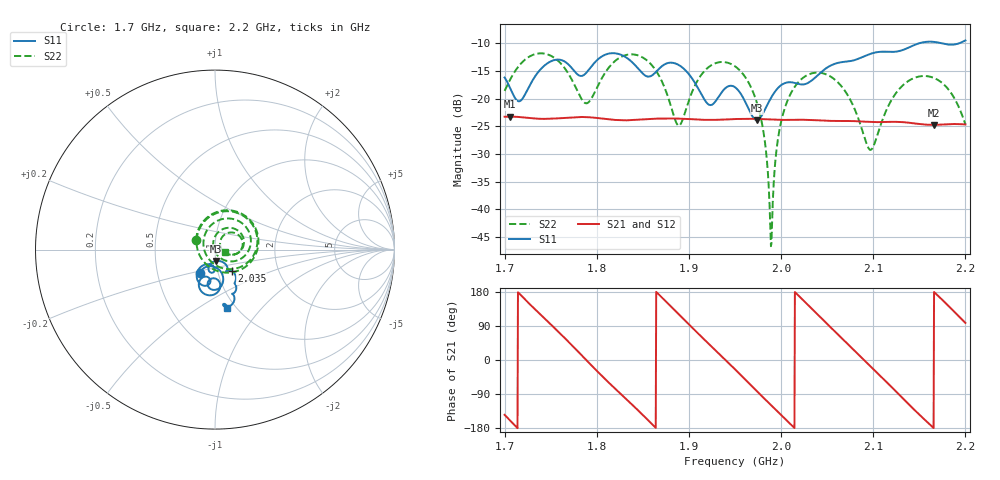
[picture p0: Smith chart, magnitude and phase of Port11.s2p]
# Hz S RI R 50
! CMT, CMT808U, 21440046, 21.4.3/4
! Date: 11/17/2025 2:51:12 PM
! Data: Format (Calibration Info)
! Freq	S11:Re/Im(F2)	S41:Re/Im(F2)	S14:Re/Im(F2)	S44:Re/Im(F2)
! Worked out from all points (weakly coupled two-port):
!   1001 points, 1.7 GHz to 2.2 GHz, reference 50 ohm
!   highest |S21| = -23.27 dB at 1.706 GHz (marker M1); lowest = -24.7 dB at 2.166 GHz (marker M2)
!   lowest |S11| = -23.9 dB at 1.974 GHz (marker M3), VSWR 1.14, Z = 50.3 - j6.41 ohm
!   |S11| at or under -10 dB: start of sweep to 2.15 GHz; 2.173 GHz to 2.194 GHz (20.08 MHz wide, 0.92 % of centre)
!   |S22| runs from -46.6 to -11.8 dB; largest |S21 - S12| = 0.00016
!   S11 on the Smith chart (normalised r, x): 1.7 GHz: 0.82, -0.22; 2.035 GHz: 1.17, -0.28; 2.2 GHz: 0.91, -0.67
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1.7e9  -0.0823 -0.1312  -0.0559 -0.0396  -0.056 -0.0396  -0.1051 0.052
1.706e9  -0.0658 -0.1055  -0.0644 -0.0238  -0.0645 -0.0237  -0.0896 0.1182
1.7175e9  -0.0048 -0.0957  -0.0672 0.0103  -0.0673 0.0104  0.000978 0.2059
1.7455e9  0.0349 -0.2023  -0.0167 0.0634  -0.0166 0.0635  0.2385 0.0809
1.7835e9  -0.00472 -0.1599  0.0665 0.0151  0.0666 0.015  -0.0376 -0.0917
1.822e9  -0.0556 -0.2485  0.0105 -0.0631  0.0104 -0.0631  0.0712 0.214
1.867e9  -0.0263 -0.1818  -0.0656 0.00721  -0.0656 0.00732  0.1282 -0.1019
1.889e9  -0.0938 -0.1775  -0.0331 0.057  -0.0331 0.0571  -0.0517 -0.0238
1.922e9  -0.0316 -0.0819  0.0479 0.0427  0.048 0.0426  0.0886 0.1726
1.95e9  -0.031 -0.1227  0.0594 -0.027  0.0594 -0.0271  0.1949 0.0142
1.9735e9  0.00714 -0.0634  0.00948 -0.0648  0.00939 -0.0648  0.068 -0.0637
1.982e9  0.0391 -0.0677  -0.0138 -0.0636  -0.0139 -0.0636  0.02 -0.0385
1.9895e9  0.0605 -0.0832  -0.0326 -0.0559  -0.0327 -0.0558  -0.0049 0.000301
1.9955e9  0.0695 -0.0997  -0.0451 -0.0459  -0.0452 -0.0459  -0.00984 0.0357
2.003e9  0.0695 -0.1176  -0.0567 -0.0299  -0.0568 -0.0298  0.00232 0.0769
2.0335e9  0.0877 -0.117  -0.0449 0.0457  -0.0448 0.0458  0.1373 0.0984
2.0355e9  0.0926 -0.1191  -0.0408 0.0492  -0.0407 0.0493  0.1436 0.0916
2.068e9  0.1099 -0.1839  0.0382 0.0498  0.0383 0.0497  0.1191 -0.0237
2.0965e9  0.1177 -0.2231  0.0592 -0.0167  0.0592 -0.0168  0.0329 0.0104
2.117e9  0.0957 -0.2461  0.0268 -0.0554  0.0267 -0.0555  0.0447 0.0757
2.1655e9  0.0618 -0.3189  -0.0579 -0.000546  -0.0579 -0.000456  0.1528 0.0183
2.2e9  0.0675 -0.3276  -0.00794 0.0578  -0.00786 0.0578  0.0566 -0.0148
